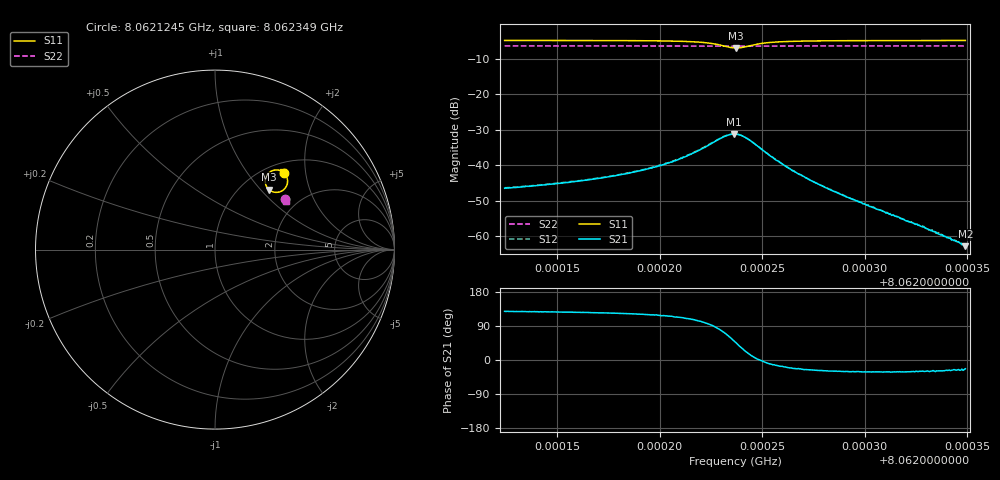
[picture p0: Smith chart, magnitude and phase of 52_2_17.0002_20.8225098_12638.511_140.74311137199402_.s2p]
#  HZ  S  RI  R  50.00
! Rohde & Schwarz Vector Network Analyzer
! Rohde-Schwarz,ZNB20-2Port,1311601062101988,3.16
! Created: UTC 3/20/2024, 10:54:20 PM
! freq[Hz]  re:S11  im:S11  re:S21  im:S21  re:S12  im:S12  re:S22  im:S22
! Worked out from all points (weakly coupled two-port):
!   401 points, 8.0621245 GHz to 8.062349 GHz, reference 50 ohm
!   highest |S21| = -31.19 dB at 8.0622362 GHz (marker M1); lowest = -62.9 dB at 8.062349 GHz (marker M2)
!   lowest |S11| = -6.9 dB at 8.0622373 GHz (marker M3), VSWR 2.64, Z = 66.3 + j55.7 ohm
!   |S11| at or under -10 dB: nowhere
!   |S22| runs from -6.4 to -6.3 dB; largest |S21 - S12| = 0.0022
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8.06212453e9  0.3863 0.4262  -0.00293 0.00369  -0.00275 0.00392  0.3895 0.2833
8.06214361e9  0.389 0.4233  -0.00318 0.00419  -0.00294 0.00442  0.3903 0.2821
8.06216213e9  0.392 0.4194  -0.0035 0.00491  -0.00326 0.00517  0.3909 0.2812
8.06218402e9  0.3969 0.4118  -0.00407 0.00643  -0.00375 0.00677  0.3916 0.2798
8.06219974e9  0.4014 0.4012  -0.00456 0.00858  -0.0041 0.009  0.3921 0.2785
8.06221097e9  0.4044 0.3867  -0.00463 0.0116  -0.00402 0.0121  0.3924 0.2774
8.06221826e9  0.4035 0.37  -0.00387 0.0151  -0.00285 0.0156  0.3924 0.2763
8.06222387e9  0.3964 0.3504  -0.00166 0.019  -0.000412 0.0194  0.3919 0.2754
8.06223117e9  0.3601 0.3214  0.00703 0.024  0.0089 0.0238  0.3902 0.2744
8.06223398e9  0.3337 0.3196  0.0128 0.0236  0.0147 0.0228  0.3892 0.2746
8.06223622e9  0.3107 0.3273  0.0175 0.0213  0.0191 0.02  0.3883 0.2752
8.06223678e9  0.3056 0.3307  0.0185 0.0204  0.02 0.019  0.3883 0.2752
8.06223735e9  0.3006 0.3346  0.0193 0.0194  0.0209 0.0179  0.3881 0.2757
8.06224015e9  0.2834 0.3599  0.0222 0.0135  0.0233 0.0117  0.388 0.2768
8.0622424e9  0.2796 0.3818  0.0224 0.00852  0.0231 0.00691  0.3881 0.2778
8.06225082e9  0.3041 0.431  0.0158 -0.00128  0.0157 -0.00223  0.3902 0.279
8.06226204e9  0.3354 0.4435  0.00881 -0.00312  0.00874 -0.0038  0.392 0.2785
8.06227439e9  0.3526 0.443  0.00533 -0.00263  0.00519 -0.00296  0.3932 0.2777
8.06229179e9  0.3647 0.4397  0.00302 -0.00178  0.00293 -0.00197  0.3941 0.2764
8.06231199e9  0.3721 0.4364  0.00173 -0.00104  0.0017 -0.00115  0.3949 0.2753
8.06232771e9  0.376 0.4343  0.00118 -0.000672  0.00115 -0.000783  0.3957 0.2743
8.06234904e9  0.3797 0.4319  0.000661 -0.00028  0.000671 -0.000304  0.3963 0.2732
